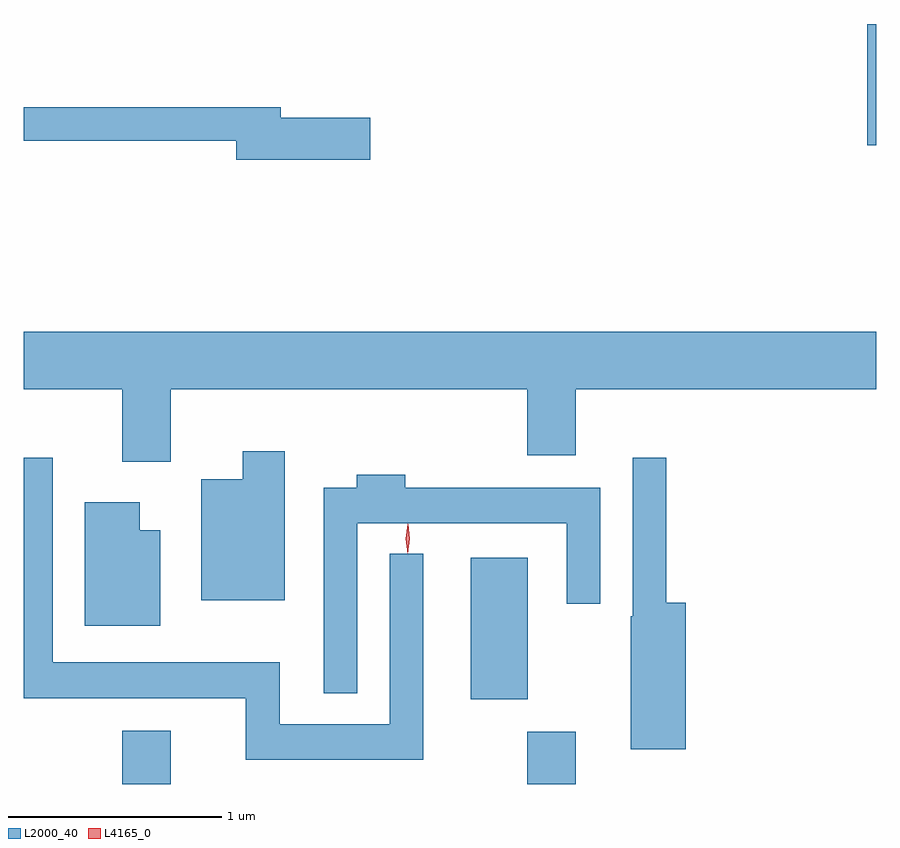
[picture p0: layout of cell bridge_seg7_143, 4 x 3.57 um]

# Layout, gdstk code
import gdstk
lib = gdstk.Library(unit=1e-6, precision=1e-09)
def R(c, l, rs):  # rectangles x0, y0, x1, y1
    for r in rs: c.add(gdstk.rectangle(r[:2], r[2:], *l))
def P(c, l, *ps):  # polygons
    for p in ps: c.add(gdstk.Polygon(p, *l))
L2000_40 = (2000, 40)
L4165_0 = (4165, 0)

bridge_seg7_143 = lib.new_cell('bridge_seg7_143')
R(bridge_seg7_143, L2000_40, [(1476.061,1723.563,1476.289,1723.814), (1477.961,1723.563,1478.189,1723.809), (1477.696,1723.961,1477.964,1724.624), (1479.556,1726.561,1479.599,1727.129)])
P(bridge_seg7_143, L2000_40, [(1477.224,1726.689),(1476.804,1726.689),(1476.804,1726.739),(1475.599,1726.739),(1475.599,1726.581),(1476.596,1726.581),(1476.596,1726.491),(1477.224,1726.491)],
  [(1476.289,1725.416),(1477.961,1725.416),(1477.961,1725.106),(1478.189,1725.106),(1478.189,1725.416),(1479.599,1725.416),(1479.599,1725.684),(1475.599,1725.684),(1475.599,1725.416),(1476.061,1725.416),(1476.061,1725.076),(1476.289,1725.076)],
  [(1476.824,1725.124),(1476.626,1725.124),(1476.626,1724.994),(1476.431,1724.994),(1476.431,1724.426),(1476.824,1724.426)],
  [(1477.474,1724.643),(1477.316,1724.643),(1477.316,1723.844),(1476.799,1723.844),(1476.799,1724.134),(1475.734,1724.134),(1475.734,1725.093),(1475.599,1725.093),(1475.599,1723.966),(1476.641,1723.966),(1476.641,1723.676),(1477.474,1723.676)],
  [(1478.704,1724.414),(1478.614,1724.414),(1478.614,1725.093),(1478.456,1725.093),(1478.456,1724.35),(1478.446,1724.35),(1478.446,1723.726),(1478.704,1723.726)],
  [(1477.164,1724.786),(1478.146,1724.786),(1478.146,1724.408),(1478.304,1724.408),(1478.304,1724.954),(1477.389,1724.954),(1477.389,1725.014),(1477.161,1725.014),(1477.161,1724.954),(1477.006,1724.954),(1477.006,1723.988),(1477.164,1723.988)],
  [(1476.239,1724.754),(1476.144,1724.754),(1476.144,1724.884),(1475.886,1724.884),(1475.886,1724.306),(1476.239,1724.306)])
P(bridge_seg7_143, L4165_0, [(1477.4,1724.644),(1477.4,1724.644),(1477.391,1724.713),(1477.401,1724.782),(1477.401,1724.783),(1477.402,1724.782),(1477.411,1724.713),(1477.401,1724.644)])

lib.write_gds('bridge_seg7_143.gds')
